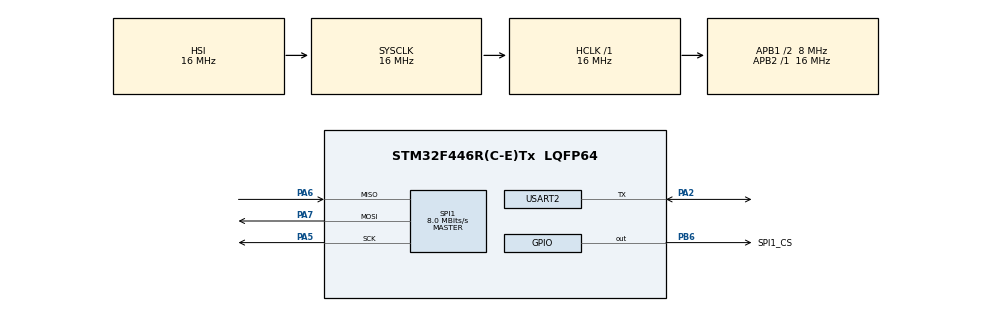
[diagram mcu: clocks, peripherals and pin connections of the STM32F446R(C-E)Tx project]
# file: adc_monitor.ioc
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Mcu.Family=STM32F4
Mcu.Name=STM32F446R(C-E)Tx
Mcu.Package=LQFP64
NVIC.PriorityGroup=NVIC_PRIORITYGROUP_0
PA13.Signal=SYS_JTMS-SWDIO
PA14.Signal=SYS_JTCK-SWCLK
PA2.Mode=Half_duplex(single_wire_mode)
PA2.Signal=USART2_TX
PA5.Mode=Full_Duplex_Master
PA5.Signal=SPI1_SCK
PA6.Mode=Full_Duplex_Master
PA6.Signal=SPI1_MISO
PA7.Mode=Full_Duplex_Master
PA7.Signal=SPI1_MOSI
PB6.GPIO_Label=SPI1_CS
PB6.PinState=GPIO_PIN_SET
PB6.Signal=GPIO_Output
ProjectManager.HeapSize=0x200
ProjectManager.StackSize=0x400
ProjectManager.TargetToolchain=STM32CubeIDE
RCC.AHBFreq_Value=16000000
RCC.APB1CLKDivider=RCC_HCLK_DIV2
RCC.APB1Freq_Value=8000000
RCC.APB1TimFreq_Value=16000000
RCC.APB2Freq_Value=16000000
RCC.APB2TimFreq_Value=16000000
RCC.CortexFreq_Value=16000000
RCC.FLatency-AdvancedSettings=FLASH_LATENCY_0
RCC.HCLKFreq_Value=16000000
RCC.HSE_VALUE=8000000
RCC.HSI_VALUE=16000000
RCC.LSE_VALUE=32768
RCC.PLLN=336
RCC.PLLP=RCC_PLLP_DIV4
RCC.SYSCLKFreq_VALUE=16000000
RCC.USBFreq_Value=168000000
RCC.VCOOutputFreq_Value=336000000
SPI1.CalculateBaudRate=8.0 MBits/s
SPI1.Direction=SPI_DIRECTION_2LINES
SPI1.Mode=SPI_MODE_MASTER
SPI1.VirtualType=VM_MASTER
USART2.VirtualMode=VM_ASYNC
board=NUCLEO-F446RE

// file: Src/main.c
/* USER CODE BEGIN Header */
/**
  ******************************************************************************
  * @file           : main.c
  * @brief          : Main program body
  ******************************************************************************
  * @attention
  *
  * Copyright (c) 2026 STMicroelectronics.
  * All rights reserved.
  *
  * This software is licensed under terms that can be found in the LICENSE file
  * in the root directory of this software component.
  * If no LICENSE file comes with this software, it is provided AS-IS.
  *
  ******************************************************************************
  */
/* USER CODE END Header */
#include "main.h"

/* USER CODE BEGIN Includes */
#include "inx_mcp3204.h"
#include "inx_uart_printf_stm32.h"
#include <string.h>
/* USER CODE END Includes */

/* USER CODE BEGIN PD */
#define ADC_CHANNEL_COUNT 4U
#define MCP3204_MAX_READING 4095U

/* USER CODE END PD */

SPI_HandleTypeDef hspi1;

UART_HandleTypeDef huart2;

void SystemClock_Config(void);
static void MX_GPIO_Init(void);
static void MX_USART2_UART_Init(void);
static void MX_SPI1_Init(void);

/* USER CODE BEGIN 0 */
static inx_mcp3204_dev_t *adc_handle;
/* USER CODE END 0 */

int main(void)
{

  /* USER CODE BEGIN 1 */
	uint16_t adc_raw[ADC_CHANNEL_COUNT];
	const uint16_t vref_mv = INX_MCP3204_VREF_4096MV;

  /* USER CODE END 1 */

  /* MCU Configuration--------------------------------------------------------*/

  /* Reset of all peripherals, Initializes the Flash interface and the Systick. */
  HAL_Init();

  /* Configure the system clock */
  SystemClock_Config();

  /* Initialize all configured peripherals */
  MX_GPIO_Init();
  MX_USART2_UART_Init();
  MX_SPI1_Init();
  /* USER CODE BEGIN 2 */

  inx_uart_printf_init(&huart2);

  printf("ADC Monitor Start\r\n");

  inx_mcp3204_hw_desc_t adc_hw = {
      .spi_handle = &hspi1,
      .cs_port = SPI1_CS_GPIO_Port,
      .cs_pin = SPI1_CS_Pin,
      .spi_baud_rate_hz = 2000000UL,
      .vref_mv = vref_mv
  };

  adc_handle = inx_mcp3204_open(&adc_hw);
  if (adc_handle == NULL)
  {
    Error_Handler();
  }

  /* USER CODE END 2 */

  /* Infinite loop */
  while (1)
  {

    /* USER CODE BEGIN 3 */
	printf("\r\n");
	printf("+------+--------+---------------+\r\n");
	printf("| CH   | RAW    | VOLTAGE (mV)  |\r\n");
	printf("+------+--------+---------------+\r\n");
	for (uint8_t channel = 0U; channel < ADC_CHANNEL_COUNT; ++channel)
	{
	  uint16_t voltage_mv;

	  if (inx_mcp3204_read_raw(adc_handle, (inx_mcp3204_ch_t)channel,
	                           &adc_raw[channel]) != INX_STATUS_OK)
	  {
	    Error_Handler();
	  }

	  voltage_mv = (uint16_t)((uint32_t)adc_raw[channel] * vref_mv /
	                          MCP3204_MAX_READING);
	  printf("| CH%-2u | %-6u | %-6u mV     |\r\n",
	         (unsigned int)channel, (unsigned int)adc_raw[channel],
	         (unsigned int)voltage_mv);
	}
	printf("+------+--------+---------------+\r\n");

	HAL_Delay(1000);
  }
  /* USER CODE END 3 */
}

void SystemClock_Config(void)
{
  RCC_OscInitTypeDef RCC_OscInitStruct = {0};
  RCC_ClkInitTypeDef RCC_ClkInitStruct = {0};

  /** Configure the main internal regulator output voltage
  */
  __HAL_RCC_PWR_CLK_ENABLE();
  __HAL_PWR_VOLTAGESCALING_CONFIG(PWR_REGULATOR_VOLTAGE_SCALE3);

  /** Initializes the RCC Oscillators according to the specified parameters
  * in the RCC_OscInitTypeDef structure.
  */
  RCC_OscInitStruct.OscillatorType = RCC_OSCILLATORTYPE_HSI;
  RCC_OscInitStruct.HSIState = RCC_HSI_ON;
  RCC_OscInitStruct.HSICalibrationValue = RCC_HSICALIBRATION_DEFAULT;
  RCC_OscInitStruct.PLL.PLLState = RCC_PLL_NONE;
  if (HAL_RCC_OscConfig(&RCC_OscInitStruct) != HAL_OK)
  {
    Error_Handler();
  }

  /** Initializes the CPU, AHB and APB buses clocks
  */
  RCC_ClkInitStruct.ClockType = RCC_CLOCKTYPE_HCLK|RCC_CLOCKTYPE_SYSCLK
                              |RCC_CLOCKTYPE_PCLK1|RCC_CLOCKTYPE_PCLK2;
  RCC_ClkInitStruct.SYSCLKSource = RCC_SYSCLKSOURCE_HSI;
  RCC_ClkInitStruct.AHBCLKDivider = RCC_SYSCLK_DIV1;
  RCC_ClkInitStruct.APB1CLKDivider = RCC_HCLK_DIV2;
  RCC_ClkInitStruct.APB2CLKDivider = RCC_HCLK_DIV1;

  if (HAL_RCC_ClockConfig(&RCC_ClkInitStruct, FLASH_LATENCY_0) != HAL_OK)
  {
    Error_Handler();
  }
}

static void MX_SPI1_Init(void)
{

  /* SPI1 parameter configuration*/
  hspi1.Instance = SPI1;
  hspi1.Init.Mode = SPI_MODE_MASTER;
  hspi1.Init.Direction = SPI_DIRECTION_2LINES;
  hspi1.Init.DataSize = SPI_DATASIZE_8BIT;
  hspi1.Init.CLKPolarity = SPI_POLARITY_LOW;
  hspi1.Init.CLKPhase = SPI_PHASE_1EDGE;
  hspi1.Init.NSS = SPI_NSS_SOFT;
  hspi1.Init.BaudRatePrescaler = SPI_BAUDRATEPRESCALER_2;
  hspi1.Init.FirstBit = SPI_FIRSTBIT_MSB;
  hspi1.Init.TIMode = SPI_TIMODE_DISABLE;
  hspi1.Init.CRCCalculation = SPI_CRCCALCULATION_DISABLE;
  hspi1.Init.CRCPolynomial = 10;
  if (HAL_SPI_Init(&hspi1) != HAL_OK)
  {
    Error_Handler();
  }

}

static void MX_USART2_UART_Init(void)
{

  huart2.Instance = USART2;
  huart2.Init.BaudRate = 115200;
  huart2.Init.WordLength = UART_WORDLENGTH_8B;
  huart2.Init.StopBits = UART_STOPBITS_1;
  huart2.Init.Parity = UART_PARITY_NONE;
  huart2.Init.Mode = UART_MODE_TX_RX;
  huart2.Init.HwFlowCtl = UART_HWCONTROL_NONE;
  huart2.Init.OverSampling = UART_OVERSAMPLING_16;
  if (HAL_HalfDuplex_Init(&huart2) != HAL_OK)
  {
    Error_Handler();
  }

}

static void MX_GPIO_Init(void)
{
  GPIO_InitTypeDef GPIO_InitStruct = {0};

  /* GPIO Ports Clock Enable */
  __HAL_RCC_GPIOA_CLK_ENABLE();
  __HAL_RCC_GPIOB_CLK_ENABLE();

  /*Configure GPIO pin Output Level */
  HAL_GPIO_WritePin(SPI1_CS_GPIO_Port, SPI1_CS_Pin, GPIO_PIN_SET);

  /*Configure GPIO pin : SPI1_CS_Pin */
  GPIO_InitStruct.Pin = SPI1_CS_Pin;
  GPIO_InitStruct.Mode = GPIO_MODE_OUTPUT_PP;
  GPIO_InitStruct.Pull = GPIO_NOPULL;
  GPIO_InitStruct.Speed = GPIO_SPEED_FREQ_LOW;
  HAL_GPIO_Init(SPI1_CS_GPIO_Port, &GPIO_InitStruct);

}

void Error_Handler(void)
{
  __disable_irq();
  while (1)
  {
  }
}
